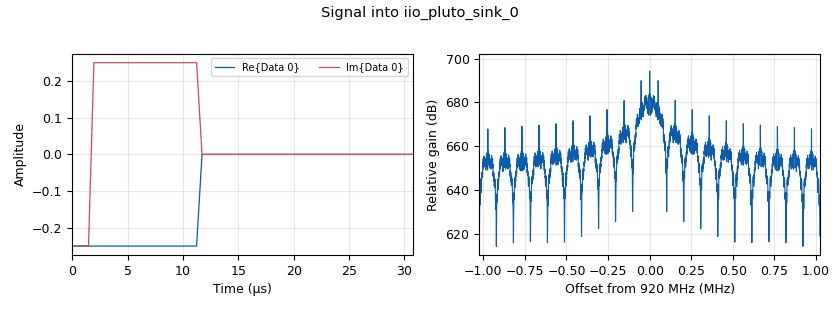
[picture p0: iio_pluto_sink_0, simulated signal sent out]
options:
  parameters:
    generate_options: qt_gui
    id: rtlsdr1
    output_language: python
    title: Not titled yet
  states: {}

blocks:
- name: rxGain
  id: variable_qtgui_range
  parameters:
    start: '0'
    step: '1'
    stop: '100'
    value: '1'
  states: {}
- name: rxfreq_0
  id: variable_qtgui_range
  parameters:
    label: Rx Frequency
    start: 87.7e6
    step: 200e3
    stop: 1000e6
    value: 920e6
  states: {}
- name: samp_rate
  id: variable
  parameters:
    value: '2048000'
  states: {}
- name: sigselect
  id: variable_qtgui_chooser
  parameters:
    label0: BPSK
    label1: Cosine
    num_opts: '2'
    option0: '0'
    option1: '1'
    type: int
    value: '0'
  states: {}
- name: theta
  id: variable_qtgui_range
  parameters:
    start: '0'
    step: '0.1'
    stop: '3'
    value: '0'
  states: {}
- name: txGain
  id: variable_qtgui_range
  parameters:
    start: '0'
    step: '1'
    stop: '15'
    value: '1'
  states: {}
- name: txfreq
  id: variable_qtgui_range
  parameters:
    label: Tx Frequency
    start: 87.7e6
    step: 200e3
    stop: 1000e6
    value: 920e6
  states: {}
- name: analog_random_source_x_0
  id: analog_random_source_x
  parameters:
    max: '4'
    min: '0'
    num_samps: '1000'
    repeat: 'True'
    type: int
  states: {}
- name: analog_sig_source_x_0
  id: analog_sig_source_x
  parameters:
    amp: '0.5'
    freq: txfreq
    offset: theta
    phase: '0'
    samp_rate: samp_rate
    type: complex
    waveform: analog.GR_COS_WAVE
  states: {}
- name: blocks_repeat_0
  id: blocks_repeat
  parameters:
    interp: '20'
    type: complex
  states: {}
- name: blocks_selector_0
  id: blocks_selector
  parameters:
    enabled: 'True'
    input_index: sigselect
    num_inputs: '2'
    num_outputs: '1'
    output_index: '0'
    type: complex
  states: {}
- name: blocks_throttle2_0
  id: blocks_throttle2
  parameters:
    samples_per_second: samp_rate
    type: complex
  states: {}
- name: digital_chunks_to_symbols_xx_0
  id: digital_chunks_to_symbols_xx
  parameters:
    dimension: '2'
    in_type: int
    out_type: complex
    symbol_table: '[-0.250-0.250j, -0.250+0.250j, 0.250-0.250j, 0.250+0.250j]'
  states: {}
- name: epy_block_1
  id: epy_block
  parameters:
    _source_code: |
      """
      Embedded Python Blocks:

      Each time this file is saved, GRC will instantiate the first class it finds
      to get ports and parameters of your block. The arguments to __init__  will
      be the parameters. All of them are required to have default values!
      """
      import numpy as np
      from gnuradio import gr


      class blk(gr.sync_block):  # other base classes are basic_block, decim_block, interp_block
          """Embedded Python Block example - a simple multiply const"""

          def __init__(self, symbol_table=[-0.250,0.250], dimension=1, num_ports=1):  # only default arguments here
              """arguments to this function show up as parameters in GRC"""
              gr.sync_block.__init__(
                  self,
                  name='Custom CTS Block',   # will show up in GRC
                  in_sig=[np.int32],
                  out_sig=[np.complex64]
              )
              # if an attribute with the same name as a parameter is found,
              # a callback is registered (properties work, too).
              self.symbol_table = symbol_table
              self.dim = dimension
              self.ports = num_ports

          def work(self, input_items, output_items):
              """example: multiply with constant"""
              value = input_items[0]
              for i in range(0,len(value)):
                  if(value[i] > 0):
                      output_items[0][i] = self.symbol_table[1]
                  else:
                      output_items[0][i] = self.symbol_table[0]
              return len(output_items[0])
    dimension: '1'
    num_ports: '1'
    symbol_table: '[-0.25, 0.25]'
  states: {state: disabled}
- name: iio_pluto_sink_0
  id: iio_pluto_sink
  parameters:
    attenuation1: txGain
    bandwidth: '20000000'
    buffer_size: '32768'
    cyclic: 'False'
    filter_source: '''Auto'''
    frequency: int(txfreq)
    samplerate: samp_rate
    type: fc32
  states: {}
- name: iio_pluto_source_0
  id: iio_pluto_source
  parameters:
    bandwidth: '20000000'
    bbdc: 'True'
    buffer_size: '32768'
    filter_source: '''Auto'''
    frequency: int(rxfreq_0)
    gain1: '''manual'''
    manual_gain1: rxGain
    quadrature: 'True'
    rfdc: 'True'
    samplerate: samp_rate
    type: fc32
  states: {}
- name: qtgui_sink_x_0
  id: qtgui_sink_x
  parameters:
    bw: samp_rate
    fc: '0'
    fftsize: '1024'
    type: complex
  states: {state: disabled}
- name: qtgui_sink_x_1
  id: qtgui_sink_x
  parameters:
    bw: samp_rate
    fc: rxfreq_0
    fftsize: '1024'
    type: complex
  states: {}
- name: rxGain
  id: parameter
  parameters:
    type: eng_float
    value: '1'
  states: {state: disabled}
- name: soapy_rtlsdr_source_0
  id: soapy_rtlsdr_source
  parameters:
    center_freq: rxfreq_0
    gain: rfGain
    samp_rate: samp_rate
    type: fc32
  states: {state: disabled}
- name: virtual_sink_0
  id: virtual_sink
  parameters:
    stream_id: BPSK stream
  states: {}
- name: virtual_sink_1
  id: virtual_sink
  parameters:
    stream_id: Cosine Stream
  states: {}
- name: virtual_source_0
  id: virtual_source
  parameters:
    stream_id: Cosine Stream
  states: {}
- name: virtual_source_1
  id: virtual_source
  parameters:
    stream_id: BPSK stream
  states: {}

connections:
- [analog_random_source_x_0, '0', digital_chunks_to_symbols_xx_0, '0']
- [analog_random_source_x_0, '0', epy_block_1, '0']
- [analog_sig_source_x_0, '0', virtual_sink_1, '0']
- [blocks_repeat_0, '0', virtual_sink_0, '0']
- [blocks_selector_0, '0', blocks_throttle2_0, '0']
- [blocks_throttle2_0, '0', iio_pluto_sink_0, '0']
- [digital_chunks_to_symbols_xx_0, '0', blocks_repeat_0, '0']
- [epy_block_1, '0', blocks_repeat_0, '0']
- [iio_pluto_source_0, '0', qtgui_sink_x_1, '0']
- [soapy_rtlsdr_source_0, '0', qtgui_sink_x_0, '0']
- [virtual_source_0, '0', blocks_selector_0, '1']
- [virtual_source_1, '0', blocks_selector_0, '0']

metadata:
  file_format: 1
  grc_version: 3.10.12.0
